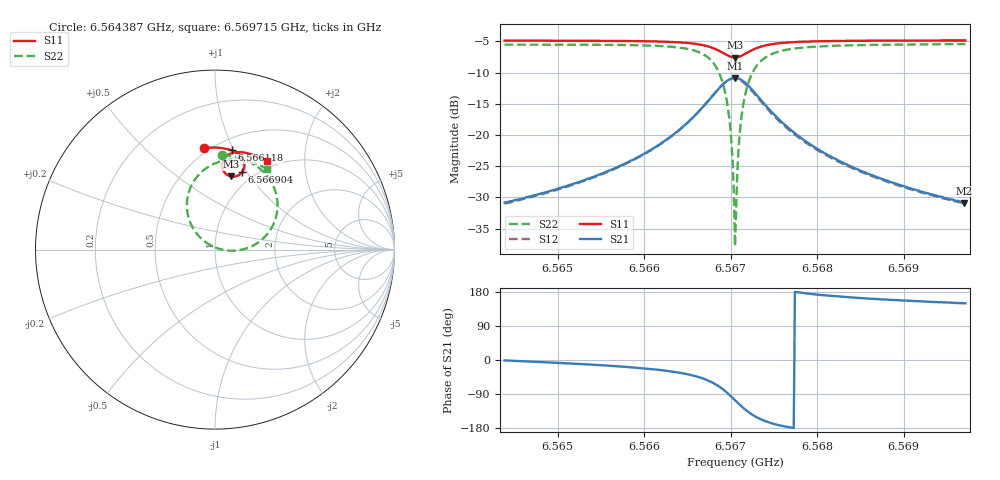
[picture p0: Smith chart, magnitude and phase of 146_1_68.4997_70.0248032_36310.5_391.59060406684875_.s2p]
#  HZ  S  RI  R  50.00
! Rohde & Schwarz Vector Network Analyzer
! Rohde-Schwarz,ZNB20-2Port,1311601062101988,3.16
! Created: UTC 3/20/2024, 4:55:04 PM
! freq[Hz]  re:S11  im:S11  re:S21  im:S21  re:S12  im:S12  re:S22  im:S22
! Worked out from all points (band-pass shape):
!   401 points, 6.564387 GHz to 6.569715 GHz, reference 50 ohm
!   highest |S21| = -10.86 dB at 6.567051 GHz (marker M1); lowest = -30.9 dB at 6.569702 GHz (marker M2)
!   |S21| within 3 dB of the highest: 6.566784 GHz to 6.567317 GHz (532.6 kHz wide, 0.00811 % of centre)
!   lowest |S11| = -7.6 dB at 6.567051 GHz (marker M3), VSWR 2.43, Z = 41.4 + j40.8 ohm
!   |S11| at or under -10 dB: nowhere
!   |S22| runs from -37.8 to -5.4 dB; largest |S21 - S12| = 0.014
!   S11 on the Smith chart (normalised r, x): 6.564387 GHz: 0.47, +0.78; 6.566118 GHz: 0.61, +0.98; 6.566904 GHz: 0.87, +0.95; 6.569715 GHz: 0.90, +1.32
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6.5643866e9  -0.0602 0.5661  0.0287 -0.00051  0.0282 -0.0011  0.0414 0.5266
6.5652791e9  0.0134 0.5679  0.042 -0.00808  0.0413 -0.00867  0.127 0.5125
6.5661184e9  0.0925 0.5535  0.0717 -0.0329  0.0706 -0.0339  0.2389 0.4598
6.5661717e9  0.0982 0.5513  0.0748 -0.0366  0.0737 -0.0374  0.2483 0.4524
6.5664781e9  0.1341 0.5304  0.0974 -0.0721  0.0959 -0.0735  0.3104 0.3822
6.5666912e9  0.1586 0.497  0.1104 -0.1305  0.1076 -0.1331  0.3478 0.2694
6.5668111e9  0.1635 0.4637  0.0995 -0.1888  0.0947 -0.1923  0.3326 0.1584
6.5669044e9  0.151 0.4314  0.0606 -0.2439  0.0518 -0.2469  0.2612 0.0554
6.5669843e9  0.1215 0.4097  -0.00704 -0.2779  -0.019 -0.2771  0.1367 -0.00292
6.5670109e9  0.1085 0.4067  -0.0352 -0.2812  -0.0478 -0.2782  0.0859 -0.00609
6.5670376e9  0.0946 0.4065  -0.0643 -0.2789  -0.0768 -0.2738  0.0341 0.00131
6.5670509e9  0.0876 0.4077  -0.0786 -0.2754  -0.0909 -0.2692  0.00892 0.00924
6.5670775e9  0.0745 0.4123  -0.1061 -0.2646  -0.1171 -0.2561  -0.0378 0.0319
6.5671042e9  0.0629 0.4196  -0.1303 -0.2488  -0.1398 -0.2388  -0.0781 0.0629
6.5671441e9  0.0497 0.4342  -0.1587 -0.2189  -0.1653 -0.2075  -0.1225 0.1193
6.5671974e9  0.0406 0.4562  -0.18 -0.1749  -0.1829 -0.1632  -0.1524 0.1991
6.567264e9  0.0405 0.482  -0.1858 -0.1247  -0.1854 -0.1143  -0.1534 0.2872
6.5675038e9  0.0779 0.531  -0.1425 -0.0281  -0.1395 -0.0239  -0.0548 0.4493
6.5679434e9  0.1409 0.5432  -0.0816 0.00868  -0.0795 0.0098  0.0832 0.5008
6.568836e9  0.2249 0.5232  -0.0395 0.0153  -0.0386 0.0154  0.2138 0.4832
6.5697019e9  0.2893 0.4924  -0.0246 0.0144  -0.0242 0.0145  0.2909 0.4482
6.5697152e9  0.2901 0.4919  -0.0246 0.0144  -0.0241 0.0146  0.2919 0.4476
